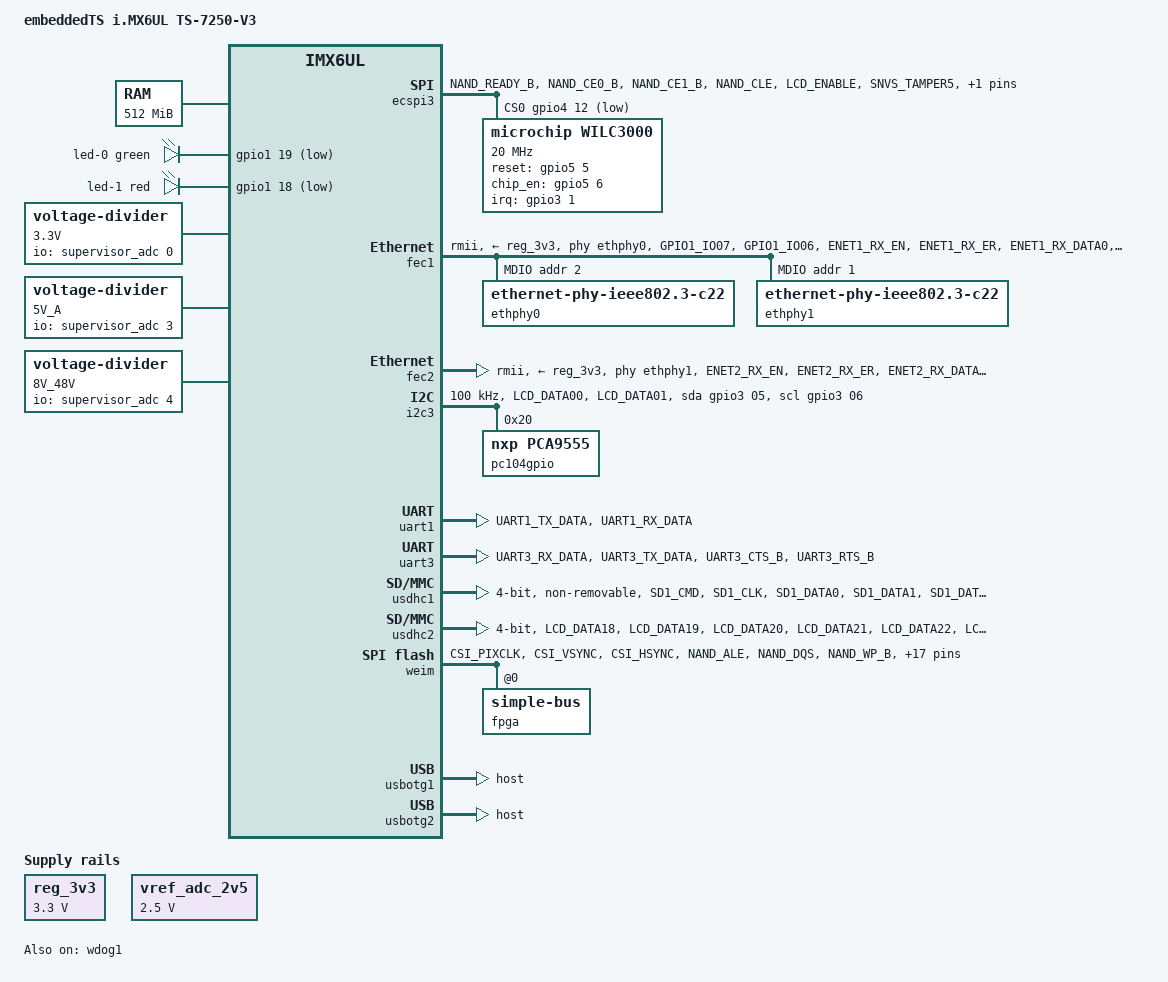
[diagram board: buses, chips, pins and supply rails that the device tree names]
// SPDX-License-Identifier: (GPL-2.0+ OR X11)
/*
 * Copyright 2019-2022 Technologic Systems, Inc. dba embeddedTS
 */

/dts-v1/;
#include <dt-bindings/input/input.h>
#include <dt-bindings/leds/common.h>
#include "imx6ul.dtsi"

/ {
	model = "embeddedTS i.MX6UL TS-7250-V3";
	compatible = "technologic,ts7250v3", "fsl,imx6ul";

	aliases {
		ethernet0 = &fec1;
		ethernet1 = &fec2;
		pc104bus = &pc104bus;
		serial8 = &fpga_uart0;
		serial9 = &fpga_uart1;
		serial10 = &fpga_uart2;
		serial11 = &fpga_uart3;
		serial12 = &fpga_uart4;
		serial13 = &fpga_uart5;
		serial14 = &fpga_uart6;
		serial15 = &fpga_uart7;
		serial16 = &fpga_uart8;
		spi4 = &opencores_spi0;
		spi5 = &opencores_spi1;
		gpio5 = &fpga_bank0;
		gpio6 = &fpga_bank1;
		gpio7 = &fpga_bank2;
		gpio8 = &fpga_bank3;
		gpio9 = &fpga_bank4;
		gpio10 = &fpga_bank5;
		gpio11 = &pc104gpio;
	};

	chosen {
		stdout-path = &uart1;
	};

	memory {
		device_type = "memory";
		reg = <0x80000000 0x20000000>;
	};

	led-controller {
		pinctrl-names = "default";
		pinctrl-0 = <&pinctrl_cpu_leds>;
		compatible = "gpio-leds";

		led-0 {
			color = <LED_COLOR_ID_GREEN>;
			function = LED_FUNCTION_POWER;
			gpios = <&gpio1 19 GPIO_ACTIVE_LOW>;
			default-state = "on";
		};

		led-1 {
			color = <LED_COLOR_ID_RED>;
			function = LED_FUNCTION_INDICATOR;
			gpios = <&gpio1 18 GPIO_ACTIVE_LOW>;
			default-state = "off";
		};
	};

	reg_3v3: rev_3v3 {
		compatible = "regulator-fixed";
		regulator-name = "3V3";
		regulator-min-microvolt = <3300000>;
		regulator-max-microvolt = <3300000>;
	};

	vref_adc_2v5: adc {
		compatible = "regulator-fixed";
		regulator-name = "ADC_VREF";
		regulator-min-microvolt = <2500000>;
		regulator-max-microvolt = <2500000>;
	};

	an_3p3v: an_3p3v {
		compatible = "voltage-divider";
		io-channels = <&supervisor_adc 0>;
		label = "3.3V";
		output-ohms = <100000>; /* R2 (100k) */
		full-ohms = <110700>; /* R1 (10.7k) + R2 (100k) */
		#io-channel-cells = <0>;
	};

	an_5v: an_5v {
		compatible = "voltage-divider";
		io-channels = <&supervisor_adc 3>;
		label = "5V_A";
		output-ohms = <42200>; /* R2 (42.2k) */
		full-ohms = <84400>; /* R1 (42.2k) + R2 (42.2k) */
		#io-channel-cells = <0>;
	};

	an_8v_48v: an_8v_48v {
		compatible = "voltage-divider";
		io-channels = <&supervisor_adc 4>;
		label = "8V_48V";
		output-ohms = <10700>; /* R2 (10.7k) */
		full-ohms = <247700>; /* R1 (237K) + R2 (10.7k) */
		#io-channel-cells = <0>;
	};

	/*
	 * At the time of writing, there is a locking bug when using AFE channels
	 * that can be consumed within the kernel. The hwmon device is disabled
	 * until this is resolved
	 */
	 supervisor-adcs {
		compatible = "iio-hwmon";
		io-channels = <&an_3p3v>, <&supervisor_adc 1>, <&supervisor_adc 2>,
			<&supervisor_adc 3>, <&an_5v>, <&an_8v_48v>;
		io-channel-names = "3.3V", "VDD_ARM_CAP", "VDD_SOC_CAP", "5V_A", "8V_48V";
		status = "disabled";
	};

	supervisor-temp {
		compatible = "iio-hwmon";
		io-channels = <&supervisor_temp>;
		io-channel-names = "Supervisor Temp";
		status = "disabled";
	};
};

&i2c1 {
	clock-frequency = <100000>;
	pinctrl-names = "default", "gpio";
	pinctrl-0 = <&pinctrl_i2c1>;
	pinctrl-1 = <&pinctrl_i2c1_gpio>;
	scl-gpios = <&gpio1 2 (GPIO_ACTIVE_HIGH | GPIO_OPEN_DRAIN)>;
	sda-gpios = <&gpio1 3 (GPIO_ACTIVE_HIGH | GPIO_OPEN_DRAIN)>;
	status = "disabled";

	magnet: magnetometer@1e {
		compatible = "st,lis2mdl";
		reg = <0x1e>;
		st,drdy-int-pin = <1>;
		interrupt-parent = <&gpio1>;
		interrupts = <14 IRQ_TYPE_LEVEL_HIGH>;
	};

	wdt: watchdog@54 {
		compatible = "technologic,ts7100-wdt";
		/* 5min timeout default, in case of slow userspace.
		 * Set to 0 to disable WDT at startup. Userspace procs
		 * can still start feeding later.
		 */
		timeout-sec = <300>;
		reg = <0x54>;
		status = "disabled";
	};

	supervisor: supervisor@10 {
		compatible = "technologic,supervisor";
		reg = <0x10>;
		status = "disabled";

		supervisor_adc: supervisor_adc {
			compatible = "technologic,supervisor-adc";
			#io-channel-cells = <1>;
		};

		supervisor_temp: supervisor_temp {
			compatible = "technologic,supervisor-temp";
			#io-channel-cells = <0>;
		};
	};

	m41t00s: rtc@68 {
		compatible = "m41t00";
		reg = <0x68>;
		status = "disabled";
	};

	supervisor_rtc: rtc@68 {
		compatible = "technologic,supervisor-rtc";
		reg = <0x68>;
		wakeup-source;
		status = "disabled";
	};

	gyro@6a {
		compatible = "st,ism330dlc";
		reg = <0x6a>;
		interrupt-parent = <&gpio5>;
		interrupts = <0 IRQ_TYPE_LEVEL_HIGH>;
	};

	gyro-1@6a {
		compatible = "st,ism330dhcx";
		reg = <0x6a>;
		interrupt-parent = <&gpio5>;
		interrupts = <0 IRQ_TYPE_LEVEL_HIGH>;
	};
};

&adc1 {
	pinctrl-names = "default";
	pinctrl-0 = <&pinctrl_adc1>;
	vref-supply = <&vref_adc_2v5>;
	status = "disabled";
};

&can1 {
	pinctrl-names = "default";
	pinctrl-0 = <&pinctrl_flexcan1>;
	status = "disabled";
};

&can2 {
	pinctrl-names = "default";
	pinctrl-0 = <&pinctrl_flexcan2>;
	status = "disabled";
};

&ecspi3 {
	pinctrl-names = "default";
	pinctrl-0 = <&pinctrl_ecspi3>;
	num-cs = <1>;
	cs-gpios = <&gpio4 12 GPIO_ACTIVE_LOW>;
	status = "okay";

	wilc3000: wifi@0 {
		compatible = "microchip,wilc3000";
		reg = <0>;
		spi-max-frequency = <20000000>;
		reset-gpios = <&gpio5 5 GPIO_ACTIVE_HIGH>;
		chip_en-gpios = <&gpio5 6 GPIO_ACTIVE_HIGH>;
		interrupt-parent = <&gpio3>;
		interrupts = <1 IRQ_TYPE_EDGE_FALLING>;
	};
};

&fec1 {
	pinctrl-names = "default";
	pinctrl-0 = <&pinctrl_enet1>;
	phy-mode = "rmii";
	phy-handle = <&ethphy0>;
	phy-supply = <&reg_3v3>;

	status = "okay";
	mdio {
		#address-cells = <1>;
		#size-cells = <0>;

		ethphy0: ethernet-phy@0 {
			clocks = <&clks IMX6UL_CLK_ENET_REF>;
			clock-names = "rmii-ref";
			compatible = "ethernet-phy-ieee802.3-c22";
			reg = <2>;
		};

		ethphy1: ethernet-phy@1 {
			clocks = <&clks IMX6UL_CLK_ENET_REF>;
			clock-names = "rmii-ref";
			compatible = "ethernet-phy-ieee802.3-c22";
			reg = <1>;
		};
	};
};

&fec2 {
	pinctrl-names = "default";
	pinctrl-0 = <&pinctrl_enet2>;
	phy-mode = "rmii";
	phy-handle = <&ethphy1>;
	phy-supply = <&reg_3v3>;
	status = "okay";
};

&gpio1 {
	gpio-line-names =
		"AN_CH1", "AN_CH2", "", "", "", "AN_CH3", "", "", "AN_CH4",
		"AN_CH5", "", "SEL_XBEE_USB", "", "FPGA_RESET", "MAGNET_IRQ",
		"", "CONSOLE_TXD", "CONSOLE_RXD", "EN_RED_LED#", "EN_GRN_LED#",
		"", "EN_XBEE_USB", "", "", "", "", "", "", "", "", "EN_DIO_FET",
		"NIM_PWR_ON";
};

&gpio3 {
	gpio-line-names =
		"EN_USB_5V", "", "", "UART4_CTS#", "", "I2C_3_DAT",
		"I2C_3_CLK", "ISA_RESET", "ISA_IOCHK", "LCD_PIN7", "LCD_PIN8",
		"LCD_PIN9", "LCD_PIN10", "", "", "LCD_PIN11", "LCD_PIN12",
		"LCD_PIN13", "LCD_PIN14", "LCD_WR#", "LCD_EN", "LCD_RS", "",
		"", "", "", "", "", "", "", "", "";
};

&gpio4 {
	gpio-line-names =
		"FPGA_FLASH_SELECT", "DETECT_94-120", "", "", "", "", "", "",
		"", "", "EIM_IRQ", "", "", "", "", "", "", "", "", "",
		"", "", "", "", "", "", "", "", "", "", "", "";
};

&gpio5 {
	gpio-line-names =
		"", "", "", "", "", "", "EN_WIFI_PWR", "EN_CL_1", "EN_CL_2",
		"EN_CL_3", "", "", "", "", "", "", "", "", "", "", "", "", "",
		"", "", "", "", "", "", "", "", "";
};

&i2c3 {
	clock-frequency = <100000>;
	pinctrl-names = "default", "gpio";
	pinctrl-0 = <&pinctrl_i2c3>;
	pinctrl-1 = <&pinctrl_i2c3_gpio>;
	scl-gpios = <&gpio3 06 (GPIO_ACTIVE_HIGH | GPIO_OPEN_DRAIN)>;
	sda-gpios = <&gpio3 05 (GPIO_ACTIVE_HIGH | GPIO_OPEN_DRAIN)>;
	status = "okay";

	pc104gpio: pca9555@20 {
		compatible = "nxp,pca9555";
		reg = <0x20>;
		gpio-controller;
		#gpio-cells = <2>;

		gpio-line-names = "ISA_CN_D03", "ISA_CN_D04", "ISA_CN_D05",
			"ISA_CN_D06", "ISA_CN_D07", "ISA_CN_D08", "ISA_CN_D09",
			"ISA_CN_D10", "ISA_CN_D11", "ISA_CN_D12", "ISA_CN_D13",
			"ISA_CN_D14", "ISA_CN_D15", "", "", "";
	};
};

&uart1 {
	pinctrl-names = "default";
	pinctrl-0 = <&pinctrl_uart1>;
	status = "okay";
};

&uart3 {
	pinctrl-names = "default";
	pinctrl-0 = <&pinctrl_uart3>;
	uart-has-rtscts;
	status = "okay";
};

&uart4 {
	pinctrl-names = "default";
	pinctrl-0 = <&pinctrl_uart4>;
	uart-has-rtscts;
	status = "disabled";
};

&usdhc1 {
	pinctrl-names = "default";
	pinctrl-0 = <&pinctrl_usdhc1>;
	no-1-8-v;
	disable-wp;
	non-removable;
	bus-width = <4>;
	status = "okay";
};

&usdhc2 {
	pinctrl-names = "default";
	pinctrl-0 = <&pinctrl_usdhc2>;
	no-1-8-v;
	disable-wp;
	broken-cd;
	bus-width = <4>;
	status = "okay";
};

&snvs_rtc {
	status = "disabled";
};

&wdog1 {
	pinctrl-names = "default";
	pinctrl-0 = <&pinctrl_wdog>;
	status = "okay";
	fsl,ext-reset-output;
};

&weim {
	pinctrl-names = "default";
	pinctrl-0 = <&pinctrl_weim_fpga &pinctrl_weim_cs0>;
	#address-cells = <2>;
	#size-cells = <1>;
	clocks = <&clks IMX6UL_CLK_EIM>, <&clks IMX6UL_CLK_EIM_SLOW_SEL>;
	ranges = <0 0 0x50000000 0x08000000>;
	status = "okay";

	fpga: fpga@50000000 {
		compatible = "simple-bus";
		reg = <0 0x50000000 0x00010000>;
		#address-cells = <1>;
		#size-cells = <1>;
		ranges = <0 0 0 0x10000>;

		fsl,weim-cs-timing = <
			0x0161030F	// EIM_CSnGCR1 @ 0x021b8000
			0x00000000	// EIM_CSnGCR2 @ 0x021b8004
			0x03000000	// EIM_CSnRCR1 @ 0x021b8008
			0x00000000	// EIM_CSnRCR2 @ 0x021b800c
			0x01000000	// EIM_CSnWCR1 @ 0x021b8010
			0		// EIM_CSnWCR2 @ 0x021b8014
		>;

		clocks {
			#address-cells = <1>;
			#size-cells = <1>;
			ranges;

			fpga_clk_weim_bclk: fpga_clk_weim_bclk {
				#clock-cells = <0>;
				compatible = "fixed-clock";
				clock-frequency = <79200000>;
			};
		};

		syscon: syscon@4000 {
			compatible = "simple-bus";
			#address-cells = <0x1>;
			#size-cells = <0x1>;
			reg = <0x4000 0x100>;
			ranges = <0 0x4000 0x100>;

			fpga_intc: fpga_intc@0 {
				compatible = "technologic,ts71xxweim-intc";
				reg = <0x0 0x50>;

				interrupt-controller;
				#interrupt-cells = <2>;

				interrupt-parent = <&gpio5>;
				interrupts = <1 IRQ_TYPE_LEVEL_HIGH>;
			};

			fpga_bank0: fpga_gpio@10 {
				compatible = "technologic,ts71xxweim-gpio";
				reg = <0x10 0x08>;
				gpio-controller;
				#gpio-cells = <2>;
				interrupt-controller;
				#interrupt-cells = <1>;

				gpio-line-names = "", "DIO_PIN1", "DIO_PIN3",
					"DIO_PIN5", "DIO_PIN7", "DIO_PIN8",
					"DIO_PIN9", "DIO_PIN11", "DIO_PIN13",
					"DIO_PIN15", "DIO_SPI_MISO",
					"DIO_SPI_CS#", "", "", "DIO_SPI_CLK",
					"DIO_SPI_MOSI";
			};

			fpga_bank1: fpga_gpio@40 {
				compatible = "technologic,ts71xxweim-gpio";
				reg = <0x40 0x08>;
				gpio-controller;
				#gpio-cells = <2>;
				interrupt-controller;
				#interrupt-cells = <1>;

				gpio-line-names = "ISA_AEN", "ISA_BALE",
					"ISA_TC", "ISA_ENDX", "EN_NIMBEL_3V3",
					"ISA_IORDY", "ISA_REFRESH", "ISA_DRQ1",
					"ISA_DACK1", "ISA_DRQ2", "ISA_DACK2",
					"EN_NIMBEL_4V", "ISA_DRQ3", "ISA_DACK3",
					"", "EN_RS422";
			};

			fpga_bank2: fpga_gpio@54 {
				compatible = "technologic,ts71xxweim-gpio";
				reg = <0x54 0x08>;
				gpio-controller;
				#gpio-cells = <2>;
				interrupt-controller;
				#interrupt-cells = <1>;

				gpio-line-names =
					"MIKRO_RESET#", "MIKRO_AN", "MIKRO_INT",
					"MIKRO_180", "MIKRO_PWM",
					"MIKRO_SPI_CS#", "MIKRO_SPI_CLK",
					"MIKRO_SPI_MISO", "MIKRO_SPI_MOSI",
					"MIKRO_TXD", "MIKRO_RXD",
					"MIKRO_I2C_DAT", "MIKRO_I2C_CLK", "",
					"", "";
			};

			fpga_bank3: fpga_gpio@5c {
				compatible = "technologic,ts71xxweim-gpio";
				reg = <0x5c 0x08>;
				gpio-controller;
				#gpio-cells = <2>;
				interrupt-controller;
				#interrupt-cells = <1>;

				gpio-line-names = "ISA_DAT00", "ISA_DAT01",
					"ISA_DAT02", "ISA_DAT03", "ISA_DAT04",
					"ISA_DAT05", "ISA_DAT06", "ISA_DAT07",
					"ISA_DAT08", "ISA_DAT09", "ISA_DAT10",
					"ISA_DAT11", "ISA_DAT12", "ISA_DAT13",
					"ISA_DAT14", "ISA_DAT15";
			};

			fpga_bank4: fpga_gpio@64 {
				compatible = "technologic,ts71xxweim-gpio";
				reg = <0x64 0x08>;
				gpio-controller;
				#gpio-cells = <2>;
				interrupt-controller;
				#interrupt-cells = <1>;

				gpio-line-names = "ISA_ADD_00", "ISA_ADD_01",
					"ISA_ADD_02", "ISA_ADD_03",
					"ISA_ADD_04", "ISA_ADD_05",
					"ISA_ADD_06", "ISA_ADD_07",
					"ISA_ADD_08", "ISA_ADD_09",
					"ISA_ADD_10", "ISA_ADD_11",
					"ISA_ADD_12", "ISA_ADD_13",
					"ISA_ADD_14", "ISA_ADD_15";
			};

			fpga_bank5: fpga_gpio@6c {
				compatible = "technologic,ts71xxweim-gpio";
				reg = <0x6c 0x08>;
				gpio-controller;
				#gpio-cells = <2>;
				interrupt-controller;
				#interrupt-cells = <1>;

				gpio-line-names = "ISA_ADD_16", "ISA_ADD_17",
					"ISA_ADD_18", "ISA_ADD_19", "ISA_IOR",
					"ISA_IOW", "ISA_MEMR", "ISA_MEMW",
					"ISA_CN_D01", "ISA_CN_D02", "", "", "",
					"", "", "";
			};

			pc104bus: fpgaisa@50 {
				compatible = "technologic,pc104-bus";
				reg = <0x50 0x4>;

				ranges = <0 0 0x1000>;
				reset-gpio = <&gpio3 7 GPIO_ACTIVE_LOW>;

				#address-cells = <0x1>;
				#size-cells = <0x1>;
			};
		};

		/* DB9 */
		fpga_uart0: serial@0 {
			compatible = "ns16550a";
			device_type = "serial";
			reg = <0x0 16>;

			current-speed = <115200>;
			reg-shift = <1>;
			reg-io-width = <1>;
			fifo-size = <64>;
			clock-frequency = <1843200>;
			interrupt-parent = <&fpga_intc>;
			interrupts = <0 IRQ_TYPE_LEVEL_HIGH>;
		};

		/* COM2 RS-232 */
		fpga_uart1: serial@10 {
			compatible = "ns16550a";
			device_type = "serial";
			reg = <0x10 16>;

			current-speed = <115200>;
			reg-shift = <1>;
			reg-io-width = <1>;
			fifo-size = <64>;
			clock-frequency = <1843200>;
			interrupt-parent = <&fpga_intc>;
			interrupts = <1 IRQ_TYPE_LEVEL_HIGH>;
		};

		/* COM3 RS-232 */
		fpga_uart2: serial@20 {
			compatible = "ns16550a";
			device_type = "serial";
			reg = <0x20 16>;

			current-speed = <115200>;
			reg-shift = <1>;
			reg-io-width = <1>;
			fifo-size = <64>;
			clock-frequency = <1843200>;
			interrupt-parent = <&fpga_intc>;
			interrupts = <2 IRQ_TYPE_LEVEL_HIGH>;
		};

		/* COM2 RS-485 */
		fpga_uart3: serial@30 {
			compatible = "ns16550a";
			device_type = "serial";
			reg = <0x30 16>;

			current-speed = <115200>;
			reg-shift = <1>;
			reg-io-width = <1>;
			fifo-size = <64>;
			clock-frequency = <1843200>;
			interrupt-parent = <&fpga_intc>;
			interrupts = <3 IRQ_TYPE_LEVEL_HIGH>;
		};

		/* COM2 RS-422 */
		fpga_uart4: serial@40 {
			compatible = "ns16550a";
			device_type = "serial";
			reg = <0x40 16>;

			current-speed = <115200>;
			reg-shift = <1>;
			reg-io-width = <1>;
			fifo-size = <64>;
			clock-frequency = <1843200>;
			interrupt-parent = <&fpga_intc>;
			interrupts = <4 IRQ_TYPE_LEVEL_HIGH>;
		};

		/* Mikrobus UART */
		fpga_uart5: serial@50 {
			compatible = "ns16550a";
			device_type = "serial";
			reg = <0x50 16>;

			current-speed = <115200>;
			reg-shift = <1>;
			reg-io-width = <1>;
			fifo-size = <64>;
			clock-frequency = <1843200>;
			interrupt-parent = <&fpga_intc>;
			interrupts = <5 IRQ_TYPE_LEVEL_HIGH>;
		};

		fpga_uart6: serial@60 {
			compatible = "ns16550a";
			device_type = "serial";
			reg = <0x60 16>;

			current-speed = <115200>;
			reg-shift = <1>;
			reg-io-width = <1>;
			fifo-size = <64>;
			clock-frequency = <1843200>;
			interrupt-parent = <&fpga_intc>;
			interrupts = <6 IRQ_TYPE_LEVEL_HIGH>;
		};

		fpga_uart7: serial@70 {
			compatible = "ns16550a";
			device_type = "serial";
			reg = <0x70 16>;

			current-speed = <115200>;
			reg-shift = <1>;
			reg-io-width = <1>;
			fifo-size = <64>;
			clock-frequency = <1843200>;
			interrupt-parent = <&fpga_intc>;
			interrupts = <7 IRQ_TYPE_LEVEL_HIGH>;
		};

		fpga_uart8: serial@80 {
			compatible = "ns16550a";
			device_type = "serial";
			reg = <0x80 16>;

			current-speed = <115200>;
			reg-shift = <1>;
			reg-io-width = <1>;
			fifo-size = <64>;
			clock-frequency = <1843200>;
			interrupt-parent = <&fpga_intc>;
			interrupts = <8 IRQ_TYPE_LEVEL_HIGH>;
		};

		opencores_spi0: spi@100 {
			compatible = "opencores,spi-oc";
			#address-cells = <1>;
			#size-cells = <0>;
			reg = <0x100 32>;
			interrupt-parent = <&fpga_intc>;
			interrupts = <9 IRQ_TYPE_LEVEL_HIGH>;
			clocks = <&fpga_clk_weim_bclk>;
			clock-names = "spi-oc-clk";
			opencores-spi,idx = <0>;
			opencores-spi,num-chipselects = <3>;

			dioheader: spi@0 {
				compatible = "technologic,spi-header";
				spi-max-frequency = <19800000>;
				reg = <0>;
			};

			spifram: spi@1 {
				compatible = "cypress,fm25l16b", "atmel,at25";
				reg = <1>;
				spi-max-frequency = <19800000>;
				size = <0x800>;
				address-width = <16>;
				pagesize = <64>;
			};

			/* Onboard FPGA Flash */
			spifpga: flash@2 {
				compatible = "jedec,spi-nor";
				reg = <2>;
				spi-max-frequency = <19800000>;
			};
		};

		opencores_spi1: spi@120 {
			compatible = "opencores,spi-oc";
			#address-cells = <1>;
			#size-cells = <0>;
			reg = <0x120 32>;
			interrupt-parent = <&fpga_intc>;
			interrupts = <10 IRQ_TYPE_LEVEL_HIGH>;
			clocks = <&fpga_clk_weim_bclk>;
			clock-names = "spi-oc-clk";
			opencores-spi,idx = <0>;
			opencores-spi,num-chipselects = <1>;

			mikrobus: spi@0 {
				compatible = "technologic,spi-header";
				spi-max-frequency = <19800000>;
				reg = <0>;
			};
		};

		mikro_adc0: mikro_adc@180 {
			compatible = "technologic,ts-simple-adc";
			reg = <0x180 4>;
			interrupt-parent = <&fpga_intc>;
			interrupts = <19 IRQ_TYPE_LEVEL_HIGH>;
		};

		mikro_i2c: mikro_i2c@188 {
			compatible = "opencores,i2c-ocores";
			reg = <0x188 16>;
			interrupt-parent = <&fpga_intc>;
			interrupts = <20 IRQ_TYPE_LEVEL_HIGH>;
			clocks = <&fpga_clk_weim_bclk>;
			clock-names = "i2c-oc-clk";
			reg-io-width = <1>;
			reg-shift = <1>;
		};

		mikro_pwm: mikro_pwm@1a8 {
			compatible = "technologic,pwm";
			reg = <0x1a8 8>;
			clocks = <&fpga_clk_weim_bclk>;
			clock-names = "PWM-INPUT-CLK";
		};
	 };
};

&iomuxc {
	pinctrl-names = "default";
	pinctrl-0 = <&ts7250v3_pinctrl_hog>;

	imx6ul-ts7250v3 {
		ts7250v3_pinctrl_hog: hoggrp {
			fsl,pins = <
				/*
				 * 0x1b020 == Hyst., 100k PU, 50 mA drive
				 * 0x1a020 == no pull resistor
				 * 0x13020 == 100k PD
				 */

				MX6UL_PAD_LCD_DATA02__GPIO3_IO07	0x13020 /* ISA_RESET */
				MX6UL_PAD_LCD_DATA03__GPIO3_IO08	0x13020 /* ISA_IOCHK */

				MX6UL_PAD_LCD_DATA04__GPIO3_IO09	0x1a020 /* LCD_PIN7 */
				MX6UL_PAD_LCD_DATA05__GPIO3_IO10	0x1a020 /* LCD_PIN8 */
				MX6UL_PAD_LCD_DATA06__GPIO3_IO11	0x1a020 /* LCD_PIN9 */
				MX6UL_PAD_LCD_DATA07__GPIO3_IO12	0x1a020 /* LCD_PIN10 */
				MX6UL_PAD_LCD_DATA10__GPIO3_IO15	0x1a020 /* LCD_PIN11 */
				MX6UL_PAD_LCD_DATA11__GPIO3_IO16	0x1a020 /* LCD_PIN12 */
				MX6UL_PAD_LCD_DATA12__GPIO3_IO17	0x1a020 /* LCD_PIN13 */
				MX6UL_PAD_LCD_DATA13__GPIO3_IO18	0x1a020 /* LCD_PIN14 */
				MX6UL_PAD_LCD_DATA14__GPIO3_IO19	0x1a020 /* LCD_WR# */
				MX6UL_PAD_LCD_DATA15__GPIO3_IO20	0x1a020 /* LCD_EN */
				MX6UL_PAD_LCD_DATA16__GPIO3_IO21	0x1a020 /* LCD_RS */

				MX6UL_PAD_UART2_RX_DATA__GPIO1_IO21	0x13020 /* EN_XBEE_USB */
				MX6UL_PAD_UART5_RX_DATA__GPIO1_IO31	0x13020 /* NIM_PWR_ON */
				MX6UL_PAD_UART5_TX_DATA__GPIO1_IO30	0x13020 /* EN_DIO_FET */
				MX6UL_PAD_JTAG_TDI__GPIO1_IO13		0x1b029 /* FPGA_RESET */
				MX6UL_PAD_JTAG_TMS__GPIO1_IO11		0x13020 /* SEL_XBEE_USB */
				MX6UL_PAD_SNVS_TAMPER1__GPIO5_IO01	0x1b029 /* FPGA IRQ */

				MX6UL_PAD_SNVS_TAMPER7__GPIO5_IO07	0x1a020 /* EN_CL_1 */
				MX6UL_PAD_SNVS_TAMPER8__GPIO5_IO08	0x1a020 /* EN_CL_2 */
				MX6UL_PAD_SNVS_TAMPER9__GPIO5_IO09	0x1a020 /* EN_CL_3 */
				MX6UL_PAD_LCD_CLK__GPIO3_IO00		0x1b020 /* EN_USB_5V */
				MX6UL_PAD_NAND_RE_B__GPIO4_IO00		0x1b029 /* FPGA_FLASH_SELECT */
				MX6UL_PAD_NAND_WE_B__GPIO4_IO01		0x1b029 /* DETECT_94-120 */
			>;
		};

		pinctrl_cpu_leds: cpuledgrp {
			fsl,pins = <
				/* Red LED */
				MX6UL_PAD_UART1_CTS_B__GPIO1_IO18	0x1b020
				/* Green LED */
				MX6UL_PAD_UART1_RTS_B__GPIO1_IO19	0x1b020
			>;
		};

		pinctrl_adc1: adc1grp{
			fsl,pins = <
				MX6UL_PAD_GPIO1_IO00__GPIO1_IO00	0x20
				MX6UL_PAD_GPIO1_IO01__GPIO1_IO01	0x20
				MX6UL_PAD_GPIO1_IO05__GPIO1_IO05	0x20
				MX6UL_PAD_GPIO1_IO08__GPIO1_IO08	0x20
				MX6UL_PAD_GPIO1_IO09__GPIO1_IO09	0x20
			>;
		};

		pinctrl_flexcan1: flexcan1grp{
			fsl,pins = <
				MX6UL_PAD_LCD_DATA08__FLEXCAN1_TX	0x1b020
				MX6UL_PAD_LCD_DATA09__FLEXCAN1_RX	0x1b020
			>;
		};

		pinctrl_flexcan2: flexcan2grp{
			fsl,pins = <
				MX6UL_PAD_UART2_CTS_B__FLEXCAN2_TX	0x1b020
				MX6UL_PAD_UART2_RTS_B__FLEXCAN2_RX	0x1b020
			>;
		};

		pinctrl_uart1: uart1grp {
			fsl,pins = <
				MX6UL_PAD_UART1_TX_DATA__UART1_DCE_TX	0x1b0b1
				MX6UL_PAD_UART1_RX_DATA__UART1_DCE_RX	0x1b0b1
			>;
		};

		pinctrl_uart3: uart3grp {
			fsl,pins = <
				MX6UL_PAD_UART3_RX_DATA__UART3_DCE_RX	0x1b0b1
				MX6UL_PAD_UART3_TX_DATA__UART3_DCE_TX	0x1b0b1
				MX6UL_PAD_UART3_CTS_B__UART3_DCE_CTS	0x1b0b1
				MX6UL_PAD_UART3_RTS_B__UART3_DCE_RTS	0x1b0b1
			>;
		};

		pinctrl_uart4: uart4grp {
			fsl,pins = <
				MX6UL_PAD_UART4_RX_DATA__UART4_DCE_RX	0x1b0b1
				MX6UL_PAD_UART4_TX_DATA__UART4_DCE_TX	0x1b0b1
				MX6UL_PAD_LCD_VSYNC__UART4_DCE_RTS	0x1b0b1
			>;
		};

		pinctrl_enet1: enet1grp {
			fsl,pins = <
				MX6UL_PAD_GPIO1_IO07__ENET1_MDC		0x1b0b0
				MX6UL_PAD_GPIO1_IO06__ENET1_MDIO	0x1b0b0
				MX6UL_PAD_ENET1_RX_EN__ENET1_RX_EN	0x1b0b0
				MX6UL_PAD_ENET1_RX_ER__ENET1_RX_ER	0x1b0b0
				MX6UL_PAD_ENET1_RX_DATA0__ENET1_RDATA00	0x1b0b0
				MX6UL_PAD_ENET1_RX_DATA1__ENET1_RDATA01	0x1b0b0
				MX6UL_PAD_ENET1_TX_EN__ENET1_TX_EN	0x1b0b0
				MX6UL_PAD_ENET1_TX_DATA0__ENET1_TDATA00	0x1b0b0
				MX6UL_PAD_ENET1_TX_DATA1__ENET1_TDATA01	0x1b0b0
				MX6UL_PAD_ENET1_TX_CLK__ENET1_REF_CLK1	0x4001b031
			>;
		};

		pinctrl_enet2: enet2grp {
			fsl,pins = <
				MX6UL_PAD_ENET2_RX_EN__ENET2_RX_EN	0x1b0b0
				MX6UL_PAD_ENET2_RX_ER__ENET2_RX_ER	0x1b0b0
				MX6UL_PAD_ENET2_RX_DATA0__ENET2_RDATA00	0x1b0b0
				MX6UL_PAD_ENET2_RX_DATA1__ENET2_RDATA01	0x1b0b0
				MX6UL_PAD_ENET2_TX_EN__ENET2_TX_EN	0x1b0b0
				MX6UL_PAD_ENET2_TX_DATA0__ENET2_TDATA00	0x1b0b0
				MX6UL_PAD_ENET2_TX_DATA1__ENET2_TDATA01	0x1b0b0
				MX6UL_PAD_ENET2_TX_CLK__ENET2_REF_CLK2	0x4001b031
			>;
		};

		pinctrl_i2c1: i2c1grp {
			fsl,pins = <
				MX6UL_PAD_GPIO1_IO02__I2C1_SCL		0x4001a8b0
				MX6UL_PAD_GPIO1_IO03__I2C1_SDA		0x4001a8b0
			>;
		};

		pinctrl_i2c1_gpio: i2c1grpgpio {
			fsl,pins = <
				MX6UL_PAD_GPIO1_IO02__GPIO1_IO02	0x108B0
				MX6UL_PAD_GPIO1_IO03__GPIO1_IO03	0x108B0
				MX6UL_PAD_JTAG_TCK__GPIO1_IO14		0x1b020 /* MAGNET_IRQ */
				MX6UL_PAD_SNVS_TAMPER0__GPIO5_IO00	0x1b020 /* GYRO_INT */
			>;
		};

		pinctrl_ecspi3: ecspi3grp {
			fsl,pins = <
				MX6UL_PAD_NAND_READY_B__GPIO4_IO12	0x10b0 /* SPI_3_CS# */
				MX6UL_PAD_NAND_CE0_B__ECSPI3_SCLK	0x10b0
				MX6UL_PAD_NAND_CE1_B__ECSPI3_MOSI	0x10b0
				MX6UL_PAD_NAND_CLE__ECSPI3_MISO		0x10b0
				MX6UL_PAD_LCD_ENABLE__GPIO3_IO01	0x1b020 /* WIFI_IRQ# */
				MX6UL_PAD_SNVS_TAMPER5__GPIO5_IO05	0x100b1 /* WIFI_RESET# */
				MX6UL_PAD_SNVS_TAMPER6__GPIO5_IO06	0x100b1 /* EN_WIFI_PWR */
			>;
		};

		pinctrl_i2c3: i2c3grp {
			fsl,pins = <
				MX6UL_PAD_LCD_DATA00__I2C3_SDA		0x4001a8b0
				MX6UL_PAD_LCD_DATA01__I2C3_SCL		0x4001a8b0
			>;
		};

		pinctrl_i2c3_gpio: i2c3grpgpio {
			fsl,pins = <
				MX6UL_PAD_LCD_DATA00__GPIO3_IO05	0x4001a8b0
				MX6UL_PAD_LCD_DATA01__GPIO3_IO06	0x4001a8b0
			>;
		};

		pinctrl_usdhc1: usdhc1grp {
			fsl,pins = <
				MX6UL_PAD_SD1_CMD__USDHC1_CMD		0x17059
				MX6UL_PAD_SD1_CLK__USDHC1_CLK		0x10071
				MX6UL_PAD_SD1_DATA0__USDHC1_DATA0	0x17059
				MX6UL_PAD_SD1_DATA1__USDHC1_DATA1	0x17059
				MX6UL_PAD_SD1_DATA2__USDHC1_DATA2	0x17059
				MX6UL_PAD_SD1_DATA3__USDHC1_DATA3	0x17059
				MX6UL_PAD_SNVS_TAMPER2__GPIO5_IO02	0x1b020 /* EN_EMMC_3.3V */
			>;
		};

		pinctrl_usdhc2: usdhc2grp {
			fsl,pins = <
				MX6UL_PAD_LCD_DATA18__USDHC2_CMD	0x17059
				MX6UL_PAD_LCD_DATA19__USDHC2_CLK	0x10071
				MX6UL_PAD_LCD_DATA20__USDHC2_DATA0	0x17059
				MX6UL_PAD_LCD_DATA21__USDHC2_DATA1	0x17059
				MX6UL_PAD_LCD_DATA22__USDHC2_DATA2	0x17059
				MX6UL_PAD_LCD_DATA23__USDHC2_DATA3	0x17059
				MX6UL_PAD_GPIO1_IO04__GPIO1_IO04	0x1b020 /* EN_SD_CARD_3.3V */
			>;
		};

		pinctrl_dvfs: dvfsgrp {
			fsl,pins = <
				MX6UL_PAD_SNVS_TAMPER3__GPIO5_IO03	0x1b0a0
			>;
		};
		pinctrl_weim_cs0: weimcs0grp {
			fsl,pins = <
				MX6UL_PAD_CSI_MCLK__GPIO4_IO17		0xb029 /* EIM_CS0# */
			>;
		};

		pinctrl_wdog: wdoggrp {
			fsl,pins = <
				MX6UL_PAD_LCD_RESET__WDOG1_WDOG_ANY	0xb029
			>;
		};

		pinctrl_weim_fpga: weimfpgagrp {
			fsl,pins = <
				/* EIM_OE# */
				MX6UL_PAD_CSI_PIXCLK__EIM_OE		0x1b069
				/* EIM_WE# */
				MX6UL_PAD_CSI_VSYNC__EIM_RW		0x1b069
				/* EIM_LBA# */
				MX6UL_PAD_CSI_HSYNC__EIM_LBA_B		0x1b069
				/* EIM_IRQ */
				MX6UL_PAD_NAND_ALE__GPIO4_IO10		0x1b069
				/* EIM_WAIT */
				MX6UL_PAD_NAND_DQS__EIM_WAIT		0x1b069
				/* EIM_BCLK */
				MX6UL_PAD_NAND_WP_B__EIM_BCLK		0x1b069

				/* EIM Address */
				MX6UL_PAD_NAND_DATA07__EIM_AD15		0x1b069
				MX6UL_PAD_NAND_DATA06__EIM_AD14		0x1b069
				MX6UL_PAD_NAND_DATA05__EIM_AD13		0x1b069
				MX6UL_PAD_NAND_DATA04__EIM_AD12		0x1b069
				MX6UL_PAD_NAND_DATA03__EIM_AD11		0x1b069
				MX6UL_PAD_NAND_DATA02__EIM_AD10		0x1b069
				MX6UL_PAD_NAND_DATA01__EIM_AD09		0x1b069
				MX6UL_PAD_NAND_DATA00__EIM_AD08		0x1b069
				MX6UL_PAD_CSI_DATA07__EIM_AD07		0x1b069
				MX6UL_PAD_CSI_DATA06__EIM_AD06		0x1b069
				MX6UL_PAD_CSI_DATA05__EIM_AD05		0x1b069
				MX6UL_PAD_CSI_DATA04__EIM_AD04		0x1b069
				MX6UL_PAD_CSI_DATA03__EIM_AD03		0x1b069
				MX6UL_PAD_CSI_DATA02__EIM_AD02		0x1b069
				MX6UL_PAD_CSI_DATA01__EIM_AD01		0x1b069
				MX6UL_PAD_CSI_DATA00__EIM_AD00		0x1b069
			>;
		};
	};
};

&usbotg1 {
	dr_mode = "host";
	disable-over-current;
	status = "okay";
};

&usbotg2 {
	dr_mode = "host";
	disable-over-current;
	status = "okay";
};
